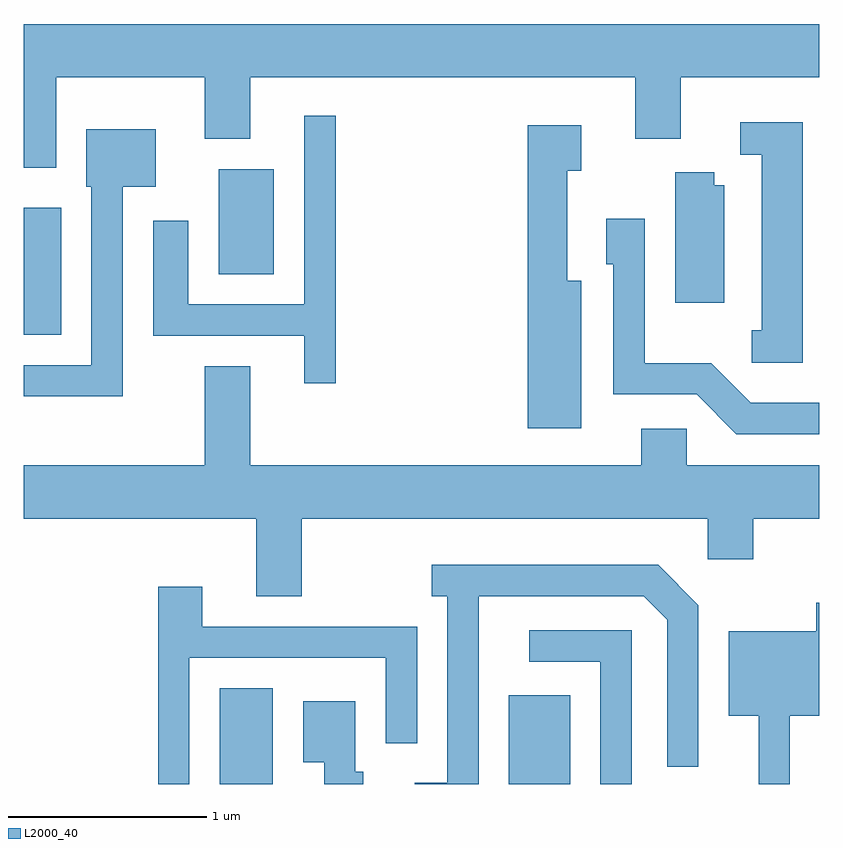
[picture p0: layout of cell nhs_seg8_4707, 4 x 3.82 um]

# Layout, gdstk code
import gdstk
lib = gdstk.Library(unit=1e-6, precision=1e-09)
def R(c, l, rs):  # rectangles x0, y0, x1, y1
    for r in rs: c.add(gdstk.rectangle(r[:2], r[2:], *l))
def P(c, l, *ps):  # polygons
    for p in ps: c.add(gdstk.Polygon(p, *l))
L2000_40 = (2000, 40)

nhs_seg8_4707 = lib.new_cell('nhs_seg8_4707')
R(nhs_seg8_4707, L2000_40, [(326.596,1908.342,326.864,1908.824), (328.051,1908.342,328.359,1908.789), (325.611,1910.601,325.799,1911.239), (326.591,1910.906,326.869,1911.434)])
P(nhs_seg8_4707, L2000_40, [(325.774,1911.896),(326.521,1911.896),(326.521,1911.586),(326.749,1911.586),(326.749,1911.896),(328.686,1911.896),(328.686,1911.586),(328.914,1911.586),(328.914,1911.896),(329.611,1911.896),(329.611,1912.164),(325.611,1912.164),(325.611,1911.441),(325.774,1911.441)],
  [(327.179,1911.703),(327.021,1911.703),(327.021,1910.754),(326.439,1910.754),(326.439,1911.174),(326.261,1911.174),(326.261,1910.596),(327.021,1910.596),(327.021,1910.358),(327.179,1910.358)],
  [(329.529,1911.669),(329.213,1911.669),(329.213,1911.506),(329.321,1911.506),(329.321,1910.624),(329.273,1910.624),(329.273,1910.461),(329.529,1910.461)],
  [(328.414,1910.874),(328.344,1910.874),(328.344,1911.426),(328.414,1911.426),(328.414,1911.654),(328.146,1911.654),(328.146,1910.131),(328.414,1910.131)],
  [(326.109,1911.346),(326.274,1911.346),(326.274,1911.634),(325.926,1911.634),(325.926,1911.346),(325.951,1911.346),(325.951,1910.449),(325.611,1910.449),(325.611,1910.291),(326.109,1910.291)],
  [(329.134,1911.354),(329.084,1911.354),(329.084,1911.419),(328.886,1911.419),(328.886,1910.761),(329.134,1910.761)],
  [(329.611,1910.259),(329.267,1910.259),(329.067,1910.459),(328.734,1910.459),(328.734,1911.184),(328.541,1911.184),(328.541,1910.956),(328.576,1910.956),(328.576,1910.301),(328.994,1910.301),(329.194,1910.101),(329.611,1910.101)],
  [(327.009,1909.676),(329.051,1909.676),(329.051,1909.471),(329.279,1909.471),(329.279,1909.676),(329.611,1909.676),(329.611,1909.944),(328.944,1909.944),(328.944,1910.129),(328.716,1910.129),(328.716,1909.944),(326.749,1909.944),(326.749,1910.444),(326.521,1910.444),(326.521,1909.944),(325.611,1909.944),(325.611,1909.676),(326.781,1909.676),(326.781,1909.286),(327.009,1909.286)],
  [(327.899,1909.286),(328.729,1909.286),(328.846,1909.169),(328.846,1908.428),(329.004,1908.428),(329.004,1909.242),(328.802,1909.444),(327.663,1909.444),(327.663,1909.286),(327.741,1909.286),(327.741,1908.349),(327.578,1908.349),(327.578,1908.342),(327.899,1908.342)],
  [(326.444,1908.976),(327.431,1908.976),(327.431,1908.548),(327.589,1908.548),(327.589,1909.134),(326.509,1909.134),(326.509,1909.334),(326.286,1909.334),(326.286,1908.342),(326.444,1908.342)],
  [(329.464,1908.686),(329.611,1908.686),(329.611,1909.254),(329.596,1909.254),(329.596,1909.109),(329.156,1909.109),(329.156,1908.686),(329.306,1908.686),(329.306,1908.342),(329.464,1908.342)],
  [(328.669,1909.114),(328.153,1909.114),(328.153,1908.956),(328.511,1908.956),(328.511,1908.342),(328.669,1908.342)],
  [(327.319,1908.404),(327.279,1908.404),(327.279,1908.759),(327.016,1908.759),(327.016,1908.451),(327.121,1908.451),(327.121,1908.342),(327.319,1908.342)])

lib.write_gds('nhs_seg8_4707.gds')
